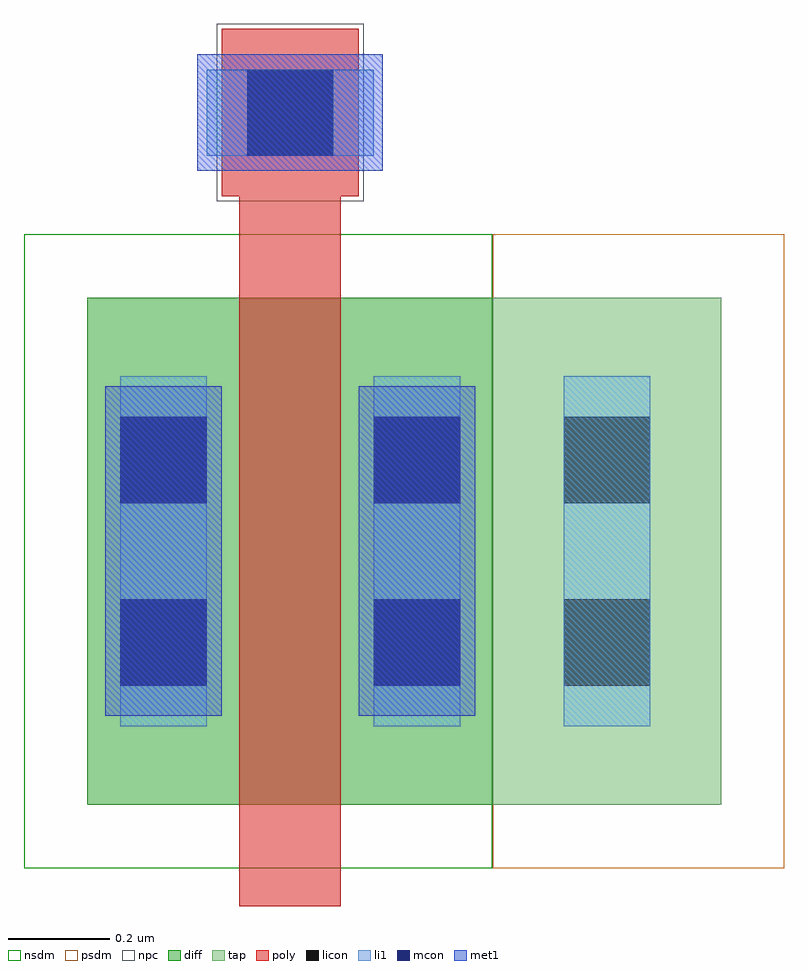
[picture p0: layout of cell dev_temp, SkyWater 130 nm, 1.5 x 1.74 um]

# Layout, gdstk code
import gdstk
lib = gdstk.Library(unit=1e-6, precision=1e-09)
def R(c, l, rs):  # rectangles x0, y0, x1, y1
    for r in rs: c.add(gdstk.rectangle(r[:2], r[2:], *l))
diff = (65, 20)
tap = (65, 44)
poly = (66, 20)
licon = (66, 44)
li1 = (67, 20)
mcon = (67, 44)
met1 = (68, 20)
nsdm = (93, 44)
psdm = (94, 20)
npc = (95, 20)

compass_3e92e1ab = lib.new_cell('compass_3e92e1ab')
R(compass_3e92e1ab, diff, [(-0.4,-0.5,0.4,0.5)])

rectangle_3e92e1ab = lib.new_cell('rectangle_3e92e1ab')
rectangle_3e92e1ab.add(gdstk.Reference(compass_3e92e1ab, (0.4,0.5)))

compass_13620e5c = lib.new_cell('compass_13620e5c')
R(compass_13620e5c, licon, [(-0.085,-0.085,0.085,0.085)])

rectangle_13620e5c = lib.new_cell('rectangle_13620e5c')
rectangle_13620e5c.add(gdstk.Reference(compass_13620e5c, (0.085,0.085)))

via_generator_8187c347 = lib.new_cell('via_generator_8187c347')
r = gdstk.Reference(rectangle_13620e5c, (0.065,0.235)); r.repetition = gdstk.Repetition(1, 2, v1=(0.36,0), v2=(0,0.36)); via_generator_8187c347.add(r)

compass_b81867f1 = lib.new_cell('compass_b81867f1')
R(compass_b81867f1, li1, [(-0.085,-0.345,0.085,0.345)])

rectangle_b81867f1 = lib.new_cell('rectangle_b81867f1')
rectangle_b81867f1.add(gdstk.Reference(compass_b81867f1, (0.085,0.345)))

compass_3c2dbaf2 = lib.new_cell('compass_3c2dbaf2')
R(compass_3c2dbaf2, mcon, [(-0.085,-0.085,0.085,0.085)])

rectangle_3c2dbaf2 = lib.new_cell('rectangle_3c2dbaf2')
rectangle_3c2dbaf2.add(gdstk.Reference(compass_3c2dbaf2, (0.085,0.085)))

via_generator_a4e57391 = lib.new_cell('via_generator_a4e57391')
r = gdstk.Reference(rectangle_3c2dbaf2, (0.065,0.235)); r.repetition = gdstk.Repetition(1, 2, v1=(0.36,0), v2=(0,0.36)); via_generator_a4e57391.add(r)

compass_52cd4e34 = lib.new_cell('compass_52cd4e34')
R(compass_52cd4e34, met1, [(-0.115,-0.325,0.115,0.325)])

rectangle_52cd4e34 = lib.new_cell('rectangle_52cd4e34')
rectangle_52cd4e34.add(gdstk.Reference(compass_52cd4e34, (0.115,0.325)))

via_stack_6913afc1 = lib.new_cell('via_stack_6913afc1')
via_stack_6913afc1.add(gdstk.Reference(via_generator_8187c347, (0,0)))
via_stack_6913afc1.add(gdstk.Reference(rectangle_b81867f1, (0.065,0.155)))
via_stack_6913afc1.add(gdstk.Reference(via_generator_a4e57391, (0,0)))
via_stack_6913afc1.add(gdstk.Reference(rectangle_52cd4e34, (0.035,0.175)))

compass_5a4882cd = lib.new_cell('compass_5a4882cd')
R(compass_5a4882cd, poly, [(-0.1,-0.7,0.1,0.7)])

rectangle_5a4882cd = lib.new_cell('rectangle_5a4882cd')
rectangle_5a4882cd.add(gdstk.Reference(compass_5a4882cd, (0.1,0.7)))

compass_7991d2a5 = lib.new_cell('compass_7991d2a5')
R(compass_7991d2a5, poly, [(-0.135,-0.165,0.135,0.165)])

rectangle_7991d2a5 = lib.new_cell('rectangle_7991d2a5')
rectangle_7991d2a5.add(gdstk.Reference(compass_7991d2a5, (0.135,0.165)))

compass_8174b4fd = lib.new_cell('compass_8174b4fd')
R(compass_8174b4fd, npc, [(-0.145,-0.175,0.145,0.175)])

rectangle_8174b4fd = lib.new_cell('rectangle_8174b4fd')
rectangle_8174b4fd.add(gdstk.Reference(compass_8174b4fd, (0.145,0.175)))

via_generator_add3357f = lib.new_cell('via_generator_add3357f')
r = gdstk.Reference(rectangle_13620e5c, (0.05,0.08)); r.repetition = gdstk.Repetition(1, 1, v1=(0.36,0), v2=(0,0.36)); via_generator_add3357f.add(r)

compass_dc7c78bb = lib.new_cell('compass_dc7c78bb')
R(compass_dc7c78bb, li1, [(-0.165,-0.085,0.165,0.085)])

rectangle_dc7c78bb = lib.new_cell('rectangle_dc7c78bb')
rectangle_dc7c78bb.add(gdstk.Reference(compass_dc7c78bb, (0.165,0.085)))

via_generator_2db9d1f9 = lib.new_cell('via_generator_2db9d1f9')
r = gdstk.Reference(rectangle_3c2dbaf2, (0.05,0.08)); r.repetition = gdstk.Repetition(1, 1, v1=(0.36,0), v2=(0,0.36)); via_generator_2db9d1f9.add(r)

compass_bdd8912f = lib.new_cell('compass_bdd8912f')
R(compass_bdd8912f, met1, [(-0.183,-0.115,0.183,0.115)])

rectangle_bdd8912f = lib.new_cell('rectangle_bdd8912f')
rectangle_bdd8912f.add(gdstk.Reference(compass_bdd8912f, (0.183,0.115)))

via_stack_accb8dda = lib.new_cell('via_stack_accb8dda')
via_stack_accb8dda.add(gdstk.Reference(rectangle_8174b4fd, (-0.01,-0.01)))
via_stack_accb8dda.add(gdstk.Reference(via_generator_add3357f, (0,0)))
via_stack_accb8dda.add(gdstk.Reference(rectangle_dc7c78bb, (-0.03,0.08)))
via_stack_accb8dda.add(gdstk.Reference(via_generator_2db9d1f9, (0,0)))
via_stack_accb8dda.add(gdstk.Reference(rectangle_bdd8912f, (-0.048,0.05)))

poly_con = lib.new_cell('poly con')
poly_con.add(gdstk.Reference(rectangle_7991d2a5, (0,0)))
poly_con.add(gdstk.Reference(via_stack_accb8dda, (0,0)))

compass_d0e1ba9c = lib.new_cell('compass_d0e1ba9c')
R(compass_d0e1ba9c, tap, [(-0.225,-0.5,0.225,0.5)])

rectangle_d0e1ba9c = lib.new_cell('rectangle_d0e1ba9c')
rectangle_d0e1ba9c.add(gdstk.Reference(compass_d0e1ba9c, (0.225,0.5)))

compass_0809a9b2 = lib.new_cell('compass_0809a9b2')
R(compass_0809a9b2, nsdm, [(-0.462,-0.625,0.462,0.625)])

rectangle_0809a9b2 = lib.new_cell('rectangle_0809a9b2')
rectangle_0809a9b2.add(gdstk.Reference(compass_0809a9b2, (0.462,0.625)))

compass_d68c8835 = lib.new_cell('compass_d68c8835')
R(compass_d68c8835, psdm, [(-0.287,-0.625,0.287,0.625)])

rectangle_d68c8835 = lib.new_cell('rectangle_d68c8835')
rectangle_d68c8835.add(gdstk.Reference(compass_d68c8835, (0.287,0.625)))

via_generator_4eebfacd = lib.new_cell('via_generator_4eebfacd')
r = gdstk.Reference(rectangle_13620e5c, (0.94,0.235)); r.repetition = gdstk.Repetition(1, 2, v1=(0.36,0), v2=(0,0.36)); via_generator_4eebfacd.add(r)

via_stack_89d20b51 = lib.new_cell('via_stack_89d20b51')
via_stack_89d20b51.add(gdstk.Reference(via_generator_4eebfacd, (0,0)))
via_stack_89d20b51.add(gdstk.Reference(rectangle_b81867f1, (0.94,0.155)))

dev_temp = lib.new_cell('dev_temp')
dev_temp.add(gdstk.Reference(rectangle_3e92e1ab, (0,0)))
r = gdstk.Reference(via_stack_6913afc1, (0,0)); r.repetition = gdstk.Repetition(2, 1, v1=(0.5,0), v2=(0,1)); dev_temp.add(r)
dev_temp.add(gdstk.Reference(rectangle_5a4882cd, (0.3,-0.2)))
r = gdstk.Reference(poly_con, (0.265,1.2)); r.repetition = gdstk.Repetition(1, 1, v1=(1,0), v2=(0,1.73)); dev_temp.add(r)
dev_temp.add(gdstk.Reference(rectangle_d0e1ba9c, (0.8,0)))
dev_temp.add(gdstk.Reference(rectangle_0809a9b2, (-0.125,-0.125)))
dev_temp.add(gdstk.Reference(rectangle_d68c8835, (0.8,-0.125)))
dev_temp.add(gdstk.Reference(via_stack_89d20b51, (0,0)))

lib.write_gds('dev_temp.gds')
